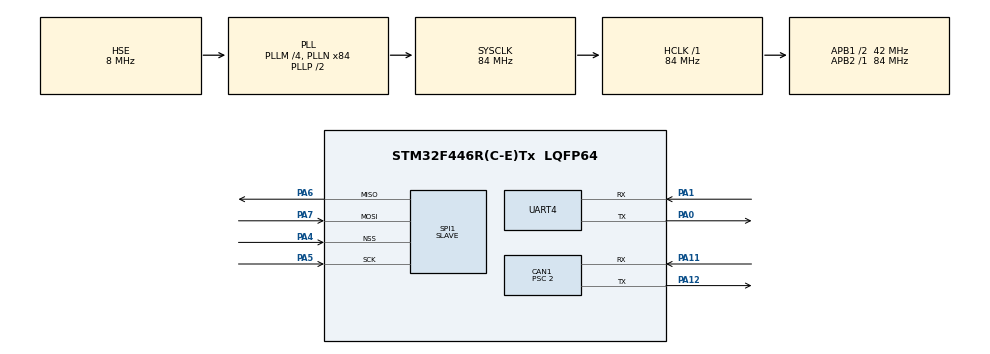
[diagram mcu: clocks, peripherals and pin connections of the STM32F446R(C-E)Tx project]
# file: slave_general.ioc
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CAN1.BS1=CAN_BS1_16TQ
CAN1.BS2=CAN_BS2_4TQ
CAN1.CalculateBaudRate=1000000
CAN1.CalculateTimeBit=1000
CAN1.CalculateTimeQuantum=47.61904761904762
CAN1.Prescaler=2
Dma.Request0=SPI1_RX
Dma.Request1=SPI1_TX
Dma.SPI1_RX.0.Direction=DMA_PERIPH_TO_MEMORY
Dma.SPI1_RX.0.FIFOMode=DMA_FIFOMODE_DISABLE
Dma.SPI1_RX.0.Instance=DMA2_Stream0
Dma.SPI1_RX.0.MemDataAlignment=DMA_MDATAALIGN_BYTE
Dma.SPI1_RX.0.MemInc=DMA_MINC_ENABLE
Dma.SPI1_RX.0.Mode=DMA_NORMAL
Dma.SPI1_RX.0.PeriphDataAlignment=DMA_PDATAALIGN_BYTE
Dma.SPI1_RX.0.PeriphInc=DMA_PINC_DISABLE
Dma.SPI1_RX.0.Priority=DMA_PRIORITY_LOW
Dma.SPI1_TX.1.Direction=DMA_MEMORY_TO_PERIPH
Dma.SPI1_TX.1.FIFOMode=DMA_FIFOMODE_DISABLE
Dma.SPI1_TX.1.Instance=DMA2_Stream3
Dma.SPI1_TX.1.MemDataAlignment=DMA_MDATAALIGN_BYTE
Dma.SPI1_TX.1.MemInc=DMA_MINC_ENABLE
Dma.SPI1_TX.1.Mode=DMA_NORMAL
Dma.SPI1_TX.1.PeriphDataAlignment=DMA_PDATAALIGN_BYTE
Dma.SPI1_TX.1.PeriphInc=DMA_PINC_DISABLE
Dma.SPI1_TX.1.Priority=DMA_PRIORITY_LOW
Mcu.Family=STM32F4
Mcu.Name=STM32F446R(C-E)Tx
Mcu.Package=LQFP64
NVIC.CAN1_RX0_IRQn=true\:0\:0\:false\:false\:true\:true\:true\:true
NVIC.DMA2_Stream0_IRQn=true\:0\:0\:false\:false\:true\:false\:true\:true
NVIC.DMA2_Stream3_IRQn=true\:0\:0\:false\:false\:true\:false\:true\:true
NVIC.PriorityGroup=NVIC_PRIORITYGROUP_4
NVIC.SPI1_IRQn=true\:0\:0\:false\:false\:true\:true\:true\:true
PA0-WKUP.Mode=Asynchronous
PA0-WKUP.Signal=UART4_TX
PA1.Mode=Asynchronous
PA1.Signal=UART4_RX
PA11.Mode=CAN_Activate
PA11.Signal=CAN1_RX
PA12.Mode=CAN_Activate
PA12.Signal=CAN1_TX
PA4.Mode=NSS_Signal_Hard_Input
PA4.Signal=SPI1_NSS
PA5.Mode=Full_Duplex_Slave
PA5.Signal=SPI1_SCK
PA6.Mode=Full_Duplex_Slave
PA6.Signal=SPI1_MISO
PA7.Mode=Full_Duplex_Slave
PA7.Signal=SPI1_MOSI
PH0-OSC_IN.Mode=HSE-External-Oscillator
PH0-OSC_IN.Signal=RCC_OSC_IN
PH1-OSC_OUT.Mode=HSE-External-Oscillator
PH1-OSC_OUT.Signal=RCC_OSC_OUT
ProjectManager.HeapSize=0x200
ProjectManager.StackSize=0x400
ProjectManager.TargetToolchain=STM32CubeIDE
RCC.AHBFreq_Value=84000000
RCC.APB1CLKDivider=RCC_HCLK_DIV2
RCC.APB1Freq_Value=42000000
RCC.APB1TimFreq_Value=84000000
RCC.APB2Freq_Value=84000000
RCC.APB2TimFreq_Value=84000000
RCC.CortexFreq_Value=84000000
RCC.HCLKFreq_Value=84000000
RCC.HSE_VALUE=8000000
RCC.PLLM=4
RCC.PLLN=84
RCC.PLLSourceVirtual=RCC_PLLSOURCE_HSE
RCC.SYSCLKFreq_VALUE=84000000
RCC.SYSCLKSource=RCC_SYSCLKSOURCE_PLLCLK
RCC.USBFreq_Value=84000000
RCC.VCOOutputFreq_Value=168000000
SPI1.Direction=SPI_DIRECTION_2LINES
SPI1.Mode=SPI_MODE_SLAVE
SPI1.VirtualNSS=VM_NSSHARD
SPI1.VirtualType=VM_SLAVE
UART4.VirtualMode=Asynchronous
board=custom

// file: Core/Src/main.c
/* USER CODE BEGIN Header */
/**
  ******************************************************************************
  * @file           : main.c
  * @brief          : Main program body
  ******************************************************************************
  * @attention
  *
  * Copyright (c) 2025 STMicroelectronics.
  * All rights reserved.
  *
  * This software is licensed under terms that can be found in the LICENSE file
  * in the root directory of this software component.
  * If no LICENSE file comes with this software, it is provided AS-IS.
  *
  ******************************************************************************
  */
/* USER CODE END Header */
#include "main.h"

/* USER CODE BEGIN Includes */
#include "stm32f4xx_hal.h"
#include "stm32f4xx_hal_def.h"
#include "stm32f4xx_hal_uart.h"
#include <stdint.h>
#include <stdio.h>
#include <string.h>
#include "robostride.h"
#include "motor_chain.h"
#include "slave_spi.h"

/* USER CODE END Includes */

CAN_HandleTypeDef hcan1;

SPI_HandleTypeDef hspi1;
DMA_HandleTypeDef hdma_spi1_rx;
DMA_HandleTypeDef hdma_spi1_tx;

UART_HandleTypeDef huart4;

void SystemClock_Config(void);
static void MX_GPIO_Init(void);
static void MX_DMA_Init(void);
static void MX_CAN1_Init(void);
static void MX_SPI1_Init(void);
static void MX_UART4_Init(void);

/* USER CODE BEGIN 0 */
//char uart_msg[100];
//
//int __io_putchar(int ch) {
//    ITM_SendChar(ch);
//    return ch;
//}
//
//int _write(int file, char *ptr, int len) {
//    int i;
//    for (i = 0; i < len; i++) {
//        ITM_SendChar((*ptr++));
//    }
//    return len;
//}

/* USER CODE END 0 */

int main(void)
{

  /* MCU Configuration--------------------------------------------------------*/

  /* Reset of all peripherals, Initializes the Flash interface and the Systick. */
  HAL_Init();

  /* USER CODE BEGIN Init */
  can_rx_flag = 0;
  /* USER CODE END Init */

  /* Configure the system clock */
  SystemClock_Config();

  /* USER CODE BEGIN SysInit */
  HAL_Delay(1000);
  SCnSCB->ACTLR |= SCnSCB_ACTLR_DISDEFWBUF_Msk ;

  /* USER CODE END SysInit */

  /* Initialize all configured peripherals */
  MX_GPIO_Init();
  MX_DMA_Init();
  MX_CAN1_Init();
  MX_SPI1_Init();
  MX_UART4_Init();
  /* USER CODE BEGIN 2 */

  if(can_bus_init() != HAL_OK) return 1;
//  printf("Can bus init successful\r\n");
  if(motor_chain_init() != HAL_OK) return 1;
  HAL_Delay(500);
//  motor_enable_one_motor(2);
  if(motor_chain_go_zeropos() != HAL_OK) return 1;
  HAL_Delay(500);
  spi_dma_init(&hspi1);

  /* USER CODE END 2 */

  /* Infinite loop */
  while (1)
  {

    /* USER CODE BEGIN 3 */
	if (data_receive_flag){
//		motor_enable_one_motor(2);
		spi_update_all_motors();
		data_receive_flag = 0;

//		sprintf(uart_msg,"received parameter: pos -> (%f), rpm -> (%f)\r\n", motors[0].set_pos,motors[0].set_rpm);

	}
  }
  /* USER CODE END 3 */
}

void SystemClock_Config(void)
{
  RCC_OscInitTypeDef RCC_OscInitStruct = {0};
  RCC_ClkInitTypeDef RCC_ClkInitStruct = {0};

  /** Configure the main internal regulator output voltage
  */
  __HAL_RCC_PWR_CLK_ENABLE();
  __HAL_PWR_VOLTAGESCALING_CONFIG(PWR_REGULATOR_VOLTAGE_SCALE3);

  /** Initializes the RCC Oscillators according to the specified parameters
  * in the RCC_OscInitTypeDef structure.
  */
  RCC_OscInitStruct.OscillatorType = RCC_OSCILLATORTYPE_HSE;
  RCC_OscInitStruct.HSEState = RCC_HSE_ON;
  RCC_OscInitStruct.PLL.PLLState = RCC_PLL_ON;
  RCC_OscInitStruct.PLL.PLLSource = RCC_PLLSOURCE_HSE;
  RCC_OscInitStruct.PLL.PLLM = 4;
  RCC_OscInitStruct.PLL.PLLN = 84;
  RCC_OscInitStruct.PLL.PLLP = RCC_PLLP_DIV2;
  RCC_OscInitStruct.PLL.PLLQ = 2;
  RCC_OscInitStruct.PLL.PLLR = 2;
  if (HAL_RCC_OscConfig(&RCC_OscInitStruct) != HAL_OK)
  {
    Error_Handler();
  }

  /** Initializes the CPU, AHB and APB buses clocks
  */
  RCC_ClkInitStruct.ClockType = RCC_CLOCKTYPE_HCLK|RCC_CLOCKTYPE_SYSCLK
                              |RCC_CLOCKTYPE_PCLK1|RCC_CLOCKTYPE_PCLK2;
  RCC_ClkInitStruct.SYSCLKSource = RCC_SYSCLKSOURCE_PLLCLK;
  RCC_ClkInitStruct.AHBCLKDivider = RCC_SYSCLK_DIV1;
  RCC_ClkInitStruct.APB1CLKDivider = RCC_HCLK_DIV2;
  RCC_ClkInitStruct.APB2CLKDivider = RCC_HCLK_DIV1;

  if (HAL_RCC_ClockConfig(&RCC_ClkInitStruct, FLASH_LATENCY_2) != HAL_OK)
  {
    Error_Handler();
  }
}

static void MX_CAN1_Init(void)
{

  hcan1.Instance = CAN1;
  hcan1.Init.Prescaler = 2;
  hcan1.Init.Mode = CAN_MODE_NORMAL;
  hcan1.Init.SyncJumpWidth = CAN_SJW_1TQ;
  hcan1.Init.TimeSeg1 = CAN_BS1_16TQ;
  hcan1.Init.TimeSeg2 = CAN_BS2_4TQ;
  hcan1.Init.TimeTriggeredMode = DISABLE;
  hcan1.Init.AutoBusOff = DISABLE;
  hcan1.Init.AutoWakeUp = DISABLE;
  hcan1.Init.AutoRetransmission = DISABLE;
  hcan1.Init.ReceiveFifoLocked = DISABLE;
  hcan1.Init.TransmitFifoPriority = DISABLE;
  if (HAL_CAN_Init(&hcan1) != HAL_OK)
  {
    Error_Handler();
  }

}

static void MX_SPI1_Init(void)
{

  /* SPI1 parameter configuration*/
  hspi1.Instance = SPI1;
  hspi1.Init.Mode = SPI_MODE_SLAVE;
  hspi1.Init.Direction = SPI_DIRECTION_2LINES;
  hspi1.Init.DataSize = SPI_DATASIZE_8BIT;
  hspi1.Init.CLKPolarity = SPI_POLARITY_LOW;
  hspi1.Init.CLKPhase = SPI_PHASE_1EDGE;
  hspi1.Init.NSS = SPI_NSS_HARD_INPUT;
  hspi1.Init.FirstBit = SPI_FIRSTBIT_MSB;
  hspi1.Init.TIMode = SPI_TIMODE_DISABLE;
  hspi1.Init.CRCCalculation = SPI_CRCCALCULATION_DISABLE;
  hspi1.Init.CRCPolynomial = 10;
  if (HAL_SPI_Init(&hspi1) != HAL_OK)
  {
    Error_Handler();
  }

}

static void MX_UART4_Init(void)
{

  huart4.Instance = UART4;
  huart4.Init.BaudRate = 115200;
  huart4.Init.WordLength = UART_WORDLENGTH_8B;
  huart4.Init.StopBits = UART_STOPBITS_1;
  huart4.Init.Parity = UART_PARITY_NONE;
  huart4.Init.Mode = UART_MODE_TX_RX;
  huart4.Init.HwFlowCtl = UART_HWCONTROL_NONE;
  huart4.Init.OverSampling = UART_OVERSAMPLING_16;
  if (HAL_UART_Init(&huart4) != HAL_OK)
  {
    Error_Handler();
  }

}

static void MX_DMA_Init(void)
{

  /* DMA controller clock enable */
  __HAL_RCC_DMA2_CLK_ENABLE();

  /* DMA interrupt init */
  /* DMA2_Stream0_IRQn interrupt configuration */
  HAL_NVIC_SetPriority(DMA2_Stream0_IRQn, 0, 0);
  HAL_NVIC_EnableIRQ(DMA2_Stream0_IRQn);
  /* DMA2_Stream3_IRQn interrupt configuration */
  HAL_NVIC_SetPriority(DMA2_Stream3_IRQn, 0, 0);
  HAL_NVIC_EnableIRQ(DMA2_Stream3_IRQn);

}

static void MX_GPIO_Init(void)
{

  /* GPIO Ports Clock Enable */
  __HAL_RCC_GPIOH_CLK_ENABLE();
  __HAL_RCC_GPIOA_CLK_ENABLE();

}

void Error_Handler(void)
{
  __disable_irq();
  while (1)
  {
  }
}
